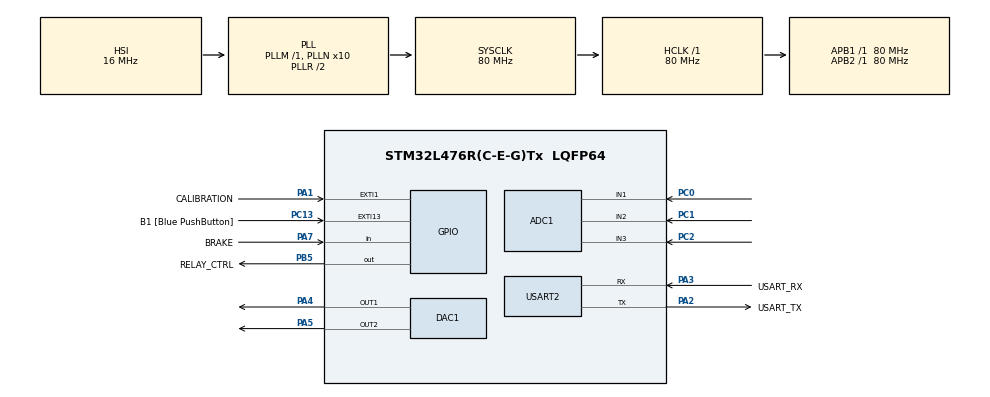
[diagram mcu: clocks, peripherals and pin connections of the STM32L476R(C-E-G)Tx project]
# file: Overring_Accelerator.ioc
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ADC1.Channel-0\#ChannelRegularConversion=ADC_CHANNEL_1
ADC1.Channel-1\#ChannelRegularConversion=ADC_CHANNEL_2
ADC1.Channel-2\#ChannelRegularConversion=ADC_CHANNEL_3
ADC1.ClockPrescaler=ADC_CLOCK_SYNC_PCLK_DIV4
ADC1.ContinuousConvMode=ENABLE
ADC1.DMAContinuousRequests=ENABLE
ADC1.NbrOfConversion=3
ADC1.NbrOfConversionFlag=1
ADC1.OffsetNumber-0\#ChannelRegularConversion=ADC_OFFSET_NONE
ADC1.OffsetNumber-1\#ChannelRegularConversion=ADC_OFFSET_NONE
ADC1.OffsetNumber-2\#ChannelRegularConversion=ADC_OFFSET_NONE
ADC1.Rank-0\#ChannelRegularConversion=1
ADC1.Rank-1\#ChannelRegularConversion=2
ADC1.Rank-2\#ChannelRegularConversion=3
ADC1.SamplingTime-0\#ChannelRegularConversion=ADC_SAMPLETIME_640CYCLES_5
ADC1.SamplingTime-1\#ChannelRegularConversion=ADC_SAMPLETIME_640CYCLES_5
ADC1.SamplingTime-2\#ChannelRegularConversion=ADC_SAMPLETIME_640CYCLES_5
ADC1.master=1
DAC1.DAC_Channel-DAC_OUT2=DAC_CHANNEL_2
Dma.ADC1.0.Direction=DMA_PERIPH_TO_MEMORY
Dma.ADC1.0.Instance=DMA1_Channel1
Dma.ADC1.0.MemDataAlignment=DMA_MDATAALIGN_HALFWORD
Dma.ADC1.0.MemInc=DMA_MINC_ENABLE
Dma.ADC1.0.Mode=DMA_CIRCULAR
Dma.ADC1.0.PeriphDataAlignment=DMA_PDATAALIGN_HALFWORD
Dma.ADC1.0.PeriphInc=DMA_PINC_DISABLE
Dma.ADC1.0.Priority=DMA_PRIORITY_LOW
Dma.Request0=ADC1
Mcu.Family=STM32L4
Mcu.Name=STM32L476R(C-E-G)Tx
Mcu.Package=LQFP64
NVIC.DMA1_Channel1_IRQn=true\:4\:0\:true\:false\:true\:false\:true\:true
NVIC.EXTI15_10_IRQn=true\:3\:0\:true\:false\:true\:true\:true\:true
NVIC.EXTI1_IRQn=true\:3\:0\:true\:false\:true\:true\:true\:true
NVIC.PriorityGroup=NVIC_PRIORITYGROUP_4
NVIC.TIM6_DAC_IRQn=true\:1\:0\:true\:false\:true\:true\:true\:true
PA1.GPIO_Label=CALIBRATION
PA1.GPIO_ModeDefaultEXTI=GPIO_MODE_IT_FALLING
PA1.GPIO_PuPd=GPIO_PULLUP
PA1.Signal=GPXTI1
PA13\ (JTMS-SWDIO).GPIO_Label=TMS
PA13\ (JTMS-SWDIO).Mode=Serial_Wire
PA13\ (JTMS-SWDIO).Signal=SYS_JTMS-SWDIO
PA14\ (JTCK-SWCLK).GPIO_Label=TCK
PA14\ (JTCK-SWCLK).Mode=Serial_Wire
PA14\ (JTCK-SWCLK).Signal=SYS_JTCK-SWCLK
PA2.GPIO_Label=USART_TX
PA2.GPIO_Mode=GPIO_MODE_AF_PP
PA2.GPIO_PuPd=GPIO_NOPULL
PA2.GPIO_Speed=GPIO_SPEED_FREQ_VERY_HIGH
PA2.Mode=Asynchronous
PA2.Signal=USART2_TX
PA3.GPIO_Label=USART_RX
PA3.GPIO_Mode=GPIO_MODE_AF_PP
PA3.GPIO_PuPd=GPIO_NOPULL
PA3.GPIO_Speed=GPIO_SPEED_FREQ_VERY_HIGH
PA3.Mode=Asynchronous
PA3.Signal=USART2_RX
PA4.Signal=COMP_DAC11_group
PA5.Signal=COMP_DAC12_group
PA7.GPIO_Label=BRAKE
PA7.GPIO_PuPd=GPIO_PULLUP
PA7.Signal=GPIO_Input
PB3\ (JTDO-TRACESWO).GPIO_Label=SWO
PB3\ (JTDO-TRACESWO).Signal=SYS_JTDO-SWO
PB5.GPIO_Label=RELAY_CTRL
PB5.GPIO_PuPd=GPIO_PULLDOWN
PB5.PinState=GPIO_PIN_RESET
PB5.Signal=GPIO_Output
PC0.Signal=ADCx_IN1
PC1.Signal=ADCx_IN2
PC13.GPIO_Label=B1 [Blue PushButton]
PC13.GPIO_ModeDefaultEXTI=GPIO_MODE_IT_FALLING
PC13.GPIO_PuPd=GPIO_NOPULL
PC13.Signal=GPXTI13
PC14-OSC32_IN\ (PC14).Mode=LSE-External-Oscillator
PC14-OSC32_IN\ (PC14).Signal=RCC_OSC32_IN
PC15-OSC32_OUT\ (PC15).Mode=LSE-External-Oscillator
PC15-OSC32_OUT\ (PC15).Signal=RCC_OSC32_OUT
PC2.Signal=ADCx_IN3
PH0-OSC_IN\ (PH0).Signal=RCC_OSC_IN
PH1-OSC_OUT\ (PH1).Signal=RCC_OSC_OUT
ProjectManager.HeapSize=0x200
ProjectManager.StackSize=0x400
ProjectManager.TargetToolchain=CMake
RCC.ADCFreq_Value=64000000
RCC.AHBFreq_Value=80000000
RCC.APB1Freq_Value=80000000
RCC.APB1TimFreq_Value=80000000
RCC.APB2Freq_Value=80000000
RCC.APB2TimFreq_Value=80000000
RCC.CortexFreq_Value=80000000
RCC.HCLKFreq_Value=80000000
RCC.HSE_VALUE=8000000
RCC.HSI_VALUE=16000000
RCC.MSI_VALUE=4000000
RCC.PLLN=10
RCC.PLLSourceVirtual=RCC_PLLSOURCE_HSI
RCC.PREFETCH_ENABLE=1
RCC.SYSCLKFreq_VALUE=80000000
RCC.SYSCLKSource=RCC_SYSCLKSOURCE_PLLCLK
RCC.USBFreq_Value=64000000
RCC.VCOOutputFreq_Value=160000000
SH.ADCx_IN1.0=ADC1_IN1,IN1-Single-Ended
SH.ADCx_IN2.0=ADC1_IN2,IN2-Single-Ended
SH.ADCx_IN3.0=ADC1_IN3,IN3-Single-Ended
SH.COMP_DAC11_group.0=DAC1_OUT1,DAC_OUT1
SH.COMP_DAC12_group.0=DAC1_OUT2,DAC_OUT2
TIM6.AutoReloadPreload=TIM_AUTORELOAD_PRELOAD_ENABLE
TIM6.Period=999
TIM6.Prescaler=79
USART2.VirtualMode-Asynchronous=VM_ASYNC
VP_TIM6_VS_ClockSourceINT.Mode=Enable_Timer
board=NUCLEO-L476RG

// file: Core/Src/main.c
/* USER CODE BEGIN Header */
/**
  ******************************************************************************
  * @file           : main.c
  * @brief          : Main program body
  ******************************************************************************
  * @attention
  *
  * Copyright (c) 2026 STMicroelectronics.
  * All rights reserved.
  *
  * This software is licensed under terms that can be found in the LICENSE file
  * in the root directory of this software component.
  * If no LICENSE file comes with this software, it is provided AS-IS.
  *
  ******************************************************************************
  */
/* USER CODE END Header */
#include "main.h"
#include "adc.h"
#include "dac.h"
#include "dma.h"
#include "tim.h"
#include "usart.h"
#include "gpio.h"

/* USER CODE BEGIN PD */
#define ADC_CHANNEL_NUM 3
#define FILTER_WINDOW 10
/* USER CODE END PD */

/* USER CODE BEGIN PV */
volatile uint8_t activation_flag=0;
volatile uint16_t adc_dma_buffer[ADC_CHANNEL_NUM*FILTER_WINDOW];
volatile uint16_t adc_filtered_APP1=0;
volatile uint16_t adc_filtered_APP2=0;
volatile uint16_t adc_filtered_RING=0;
volatile uint8_t calibration_save_flag=0;
volatile uint8_t brake_active=0;
extern volatile CalibrationData_t g_current_cal_data;

/* USER CODE END PV */

void SystemClock_Config(void);

int main(void)
{

  /* MCU Configuration--------------------------------------------------------*/

  /* Reset of all peripherals, Initializes the Flash interface and the Systick. */
  HAL_Init();

  /* Configure the system clock */
  SystemClock_Config();

  /* Initialize all configured peripherals */
  MX_GPIO_Init();
  MX_DMA_Init();
  MX_ADC1_Init();
  MX_DAC1_Init();
  MX_USART2_UART_Init();
  MX_TIM6_Init();
  /* USER CODE BEGIN 2 */
  HAL_ADCEx_Calibration_Start(&hadc1, ADC_SINGLE_ENDED); // MUST run before ADC start to correct internal offset error
  HAL_ADC_Start_DMA(&hadc1, (uint32_t *)adc_dma_buffer, ADC_CHANNEL_NUM*FILTER_WINDOW);
  HAL_DAC_Start(&hdac1, DAC_CHANNEL_1);
  HAL_DAC_Start(&hdac1, DAC_CHANNEL_2);
  HAL_TIM_Base_Start_IT(&htim6);
  /* USER CODE END 2 */

  /* Infinite loop */
  while (1)
  {

    /* USER CODE BEGIN 3 */
    Process_ADC_DATA();
    state_transition(g_system_state);
    state_action(g_system_state);
  }
  /* USER CODE END 3 */
}

void SystemClock_Config(void)
{
  RCC_OscInitTypeDef RCC_OscInitStruct = {0};
  RCC_ClkInitTypeDef RCC_ClkInitStruct = {0};

  /** Configure the main internal regulator output voltage
  */
  if (HAL_PWREx_ControlVoltageScaling(PWR_REGULATOR_VOLTAGE_SCALE1) != HAL_OK)
  {
    Error_Handler();
  }

  /** Initializes the RCC Oscillators according to the specified parameters
  * in the RCC_OscInitTypeDef structure.
  */
  RCC_OscInitStruct.OscillatorType = RCC_OSCILLATORTYPE_HSI;
  RCC_OscInitStruct.HSIState = RCC_HSI_ON;
  RCC_OscInitStruct.HSICalibrationValue = RCC_HSICALIBRATION_DEFAULT;
  RCC_OscInitStruct.PLL.PLLState = RCC_PLL_ON;
  RCC_OscInitStruct.PLL.PLLSource = RCC_PLLSOURCE_HSI;
  RCC_OscInitStruct.PLL.PLLM = 1;
  RCC_OscInitStruct.PLL.PLLN = 10;
  RCC_OscInitStruct.PLL.PLLP = RCC_PLLP_DIV7;
  RCC_OscInitStruct.PLL.PLLQ = RCC_PLLQ_DIV2;
  RCC_OscInitStruct.PLL.PLLR = RCC_PLLR_DIV2;
  if (HAL_RCC_OscConfig(&RCC_OscInitStruct) != HAL_OK)
  {
    Error_Handler();
  }

  /** Initializes the CPU, AHB and APB buses clocks
  */
  RCC_ClkInitStruct.ClockType = RCC_CLOCKTYPE_HCLK|RCC_CLOCKTYPE_SYSCLK
                              |RCC_CLOCKTYPE_PCLK1|RCC_CLOCKTYPE_PCLK2;
  RCC_ClkInitStruct.SYSCLKSource = RCC_SYSCLKSOURCE_PLLCLK;
  RCC_ClkInitStruct.AHBCLKDivider = RCC_SYSCLK_DIV1;
  RCC_ClkInitStruct.APB1CLKDivider = RCC_HCLK_DIV1;
  RCC_ClkInitStruct.APB2CLKDivider = RCC_HCLK_DIV1;

  if (HAL_RCC_ClockConfig(&RCC_ClkInitStruct, FLASH_LATENCY_4) != HAL_OK)
  {
    Error_Handler();
  }
}

/* USER CODE BEGIN 4 */
void HAL_GPIO_EXTI_Callback(uint16_t GPIO_Pin)
{
  /* Prevent unused argument(s) compilation warning */
  if (GPIO_Pin==GPIO_PIN_13)
  {
    activation_flag=1;
  }
  else if (GPIO_Pin==GPIO_PIN_1)
  {
    calibration_save_flag=1;
  }
}

void HAL_TIM_PeriodElapsedCallback(TIM_HandleTypeDef *htim)
{
    if (htim->Instance == TIM6)
    {
        static uint8_t brake_press_count = 0;
        static uint8_t brake_release_count = 0;
        GPIO_PinState current_brake_pin = HAL_GPIO_ReadPin(GPIOA, GPIO_PIN_7);
        if (current_brake_pin == GPIO_PIN_RESET)
        {
            brake_release_count = 0;

            if (brake_press_count < 3)
            {
                brake_press_count++;
            }
            else if (brake_press_count == 3)
            {
                brake_active = SET;
                brake_press_count++;
            }
        }
        else
        {
            brake_press_count = 0;
            if (brake_release_count < 3)
            {
                brake_release_count++;
            }
            else if (brake_release_count == 3)
            {
                brake_active = RESET;
                brake_release_count++;
            }
        }
    }
}

void Process_ADC_DATA(void)
{
  /* sum the values of adc_dma_buffer */
  uint32_t sum_APP1 = 0;
  uint32_t sum_APP2 = 0;
  uint32_t sum_Ring = 0;

  for (uint8_t i=0; i<FILTER_WINDOW; i++) {
    uint8_t offset=i*ADC_CHANNEL_NUM;

    sum_APP2+=adc_dma_buffer[offset];     // PC0 (ADC_IN1, Rank1) → physical APP2
    sum_APP1+=adc_dma_buffer[offset+1];   // PC1 (ADC_IN2, Rank2) → physical APP1
    sum_Ring+=adc_dma_buffer[offset+2];
  }
  adc_filtered_APP1=sum_APP1/FILTER_WINDOW;
  adc_filtered_APP2=sum_APP2/FILTER_WINDOW;
  adc_filtered_RING=sum_Ring/FILTER_WINDOW;

  /* calculate the average of each channel */
}

void Save_Calibration_To_Flash(void)
{

    HAL_FLASH_Unlock();

    FLASH_EraseInitTypeDef EraseInitStruct;
    uint32_t PageError = 0;

    EraseInitStruct.TypeErase   = FLASH_TYPEERASE_PAGES;
    EraseInitStruct.Banks       = FLASH_BANK_1;
    EraseInitStruct.Page        = 511; // Corresponding address 0x080FF800
    EraseInitStruct.NbPages     = 1;

    if (HAL_FLASHEx_Erase(&EraseInitStruct, &PageError) != HAL_OK) {
        Error_Handler();
    }

    uint64_t *data_to_write = (uint64_t *)&g_current_cal_data;

    HAL_FLASH_Program(FLASH_TYPEPROGRAM_DOUBLEWORD, CALIBRATION_ADDR, data_to_write[0]);
    HAL_FLASH_Program(FLASH_TYPEPROGRAM_DOUBLEWORD, CALIBRATION_ADDR + 8, data_to_write[1]);

    HAL_FLASH_Lock();
}

uint16_t map_accelerator_value(uint16_t adc_filtered_RING, uint16_t pedal_min, uint16_t pedal_max)
{
    if (adc_filtered_RING <= RING_ADC_MIN) return pedal_min;

    if (adc_filtered_RING >= RING_ADC_MAX) return pedal_max;

    uint32_t mapped_val = (uint32_t)(adc_filtered_RING - RING_ADC_MIN) * (pedal_max - pedal_min) / (RING_ADC_MAX - RING_ADC_MIN) + pedal_min;

    return (uint16_t)mapped_val;
}

/* USER CODE END 4 */

void Error_Handler(void)
{
  __disable_irq();
  while (1)
  {
  }
}
